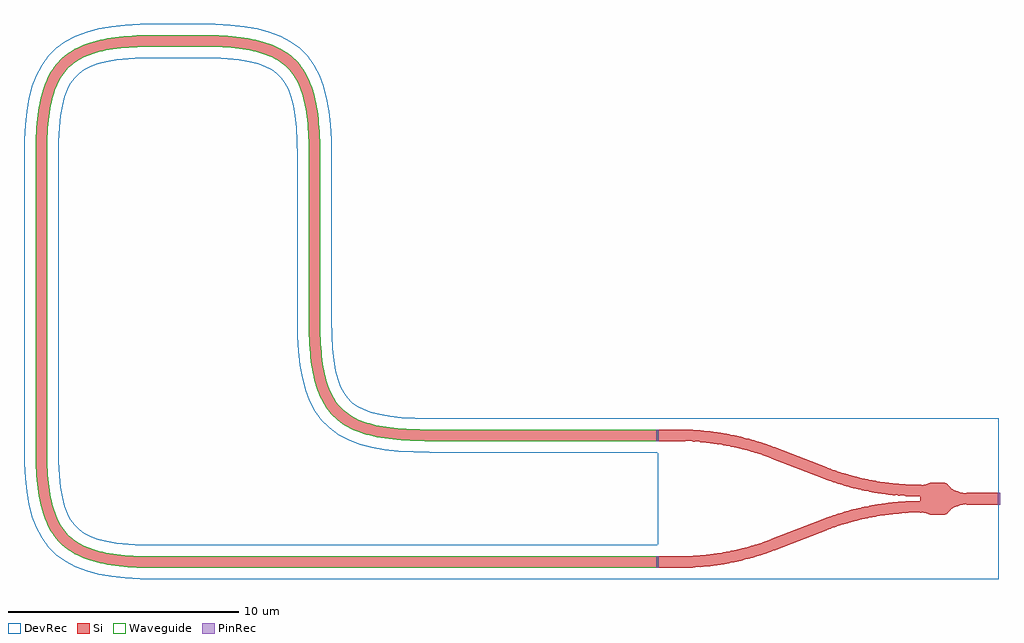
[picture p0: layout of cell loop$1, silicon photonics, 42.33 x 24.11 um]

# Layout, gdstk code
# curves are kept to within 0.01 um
from math import pi, radians
import gdstk
lib = gdstk.Library(unit=1e-6, precision=1e-09)
def R(c, l, rs):  # rectangles x0, y0, x1, y1
    for r in rs: c.add(gdstk.rectangle(r[:2], r[2:], *l))
def P(c, l, *ps):  # polygons
    for p in ps: c.add(gdstk.Polygon(p, *l))
Si = (1, 0)
PinRec = (1, 10)
Waveguide = (1, 99)
DevRec = (68, 0)

ebeam_y_1550 = lib.new_cell('ebeam_y_1550')
R(ebeam_y_1550, Si, [(6.5,-3,7.4,-2.5), (-7.4,-0.25,-6,0.25), (6.5,2.5,7.4,3)])
P(ebeam_y_1550, Si, [(6.458,-3),(6.237,-2.997),(6.237,-2.497),(6.5,-2.5),(6.5,-3)],
  [(2.265,-2.21),(0.055,-1.356),(0.235,-0.89),(2.445,-1.744)],
  [(5.033,-2.908),(4.288,-2.79),(3.59,-2.634),(2.922,-2.442),(2.265,-2.21),(2.445,-1.744),(3.075,-1.966),(3.731,-2.154),(4.372,-2.297),(5.033,-2.404)],
  [(-0.762,0.555),(-0.762,1.076),(0.055,1.356),(0.235,0.89),(-0.263,0.71)],
  [(-5.122,-0.662),(-5.344,-0.44),(-5.442,-0.374),(-5.808,-0.255),(-6,-0.25),(-6,0.25),(-5.817,0.253),(-5.442,0.374),(-5.344,0.44),(-5.122,0.662)],
  [(-4.957,-0.703),(-5.047,-0.692),(-5.122,-0.662),(-5.122,0.662),(-4.978,0.702),(-4.538,0.703),(-4.424,0.685),(-4.167,0.6),(-4,0.6),(-4,-0.6),(-4.167,-0.6),(-4.509,-0.701)],
  [(0.055,-1.356),(-0.762,-1.076),(-0.762,-0.555),(-0.263,-0.71),(0.235,-0.89)],
  [(6.237,2.497),(6.237,2.997),(6.5,3),(6.5,2.5)],
  [(-0.762,-1.076),(-1.532,-0.874),(-2.334,-0.724),(-3.178,-0.63),(-4,-0.6),(-4,-0.1),(-3.16,-0.13),(-2.381,-0.212),(-1.565,-0.355),(-0.762,-0.555)],
  [(5.033,2.404),(5.033,2.908),(5.619,2.967),(6.237,2.997),(6.237,2.497),(5.625,2.466)],
  [(-4,0.1),(-4,0.6),(-3.178,0.63),(-2.334,0.724),(-1.532,0.874),(-0.762,1.076),(-0.762,0.555),(-1.565,0.355),(-2.381,0.212),(-3.16,0.13)],
  [(2.445,1.744),(2.267,2.211),(2.922,2.442),(3.59,2.634),(4.288,2.79),(5.033,2.908),(5.033,2.404),(4.372,2.297),(3.731,2.154),(3.075,1.966)],
  [(6.233,-2.997),(5.619,-2.967),(5.033,-2.908),(5.033,-2.404),(5.625,-2.466),(6.237,-2.497)],
  [(0.235,0.89),(0.055,1.356),(2.265,2.21),(2.445,1.744)])
R(ebeam_y_1550, DevRec, [(-7.4,-3.5,7.4,3.5)])
ebeam_y_1550.add(gdstk.FlexPath([(-7.35,0),(-7.45,0)], 0.5, ends="flush", simple_path=True, layer=1, datatype=10))  # PinRec
ebeam_y_1550.add(gdstk.FlexPath([(7.35,-2.75),(7.45,-2.75)], 0.5, ends="flush", simple_path=True, layer=1, datatype=10))  # PinRec
ebeam_y_1550.add(gdstk.FlexPath([(7.35,2.75),(7.45,2.75)], 0.5, ends="flush", simple_path=True, layer=1, datatype=10))  # PinRec
ebeam_y_1550.add(gdstk.Label('opt2', (7.4,2.75), layer=1, texttype=10))
ebeam_y_1550.add(gdstk.Label('opt3', (7.4,-2.75), layer=1, texttype=10))
ebeam_y_1550.add(gdstk.Label('opt1', (-7.4,0), layer=1, texttype=10))
ebeam_y_1550.add(gdstk.Label('Component=ebeam_y_1550', (-6,1.5), layer=68, texttype=0))
ebeam_y_1550.add(gdstk.Label('Lumerical_INTERCONNECT_library=Design kits/ebeam', (-6.86,-2.19), layer=68, texttype=0))
ebeam_y_1550.add(gdstk.Label('Ref: Y Zhang, Opt. Express, 21/1, 2013', (-7.5,-1), layer=10, texttype=0))

waveguide_8 = lib.new_cell('Waveguide$8')
P(waveguide_8, Si, [(-50.14,-27.33),(-50.787,-27.321),(-51.382,-27.29),(-51.753,-27.257),(-52.27,-27.185),(-52.589,-27.123),(-53.033,-27.003),(-53.307,-26.905),(-53.683,-26.728),(-54.02,-26.513),(-54.222,-26.347),(-54.406,-26.163),(-54.572,-25.961),(-54.72,-25.741),(-54.909,-25.378),(-55.015,-25.113),(-55.145,-24.684),(-55.271,-24.044),(-55.334,-23.512),(-55.38,-22.728),(-55.39,-22.08),(-55.389,-9.249),(-55.35,-8.228),(-55.317,-7.857),(-55.245,-7.34),(-55.146,-6.867),(-54.965,-6.303),(-54.851,-6.048),(-54.721,-5.81),(-54.492,-5.487),(-54.223,-5.204),(-53.912,-4.961),(-53.684,-4.823),(-53.438,-4.701),(-53.034,-4.548),(-52.59,-4.428),(-52.104,-4.339),(-51.572,-4.276),(-50.788,-4.23),(-47.643,-4.229),(-46.859,-4.275),(-46.16,-4.365),(-45.54,-4.504),(-45.258,-4.594),(-44.993,-4.7),(-44.747,-4.822),(-44.519,-4.96),(-44.208,-5.203),(-44.024,-5.387),(-43.858,-5.589),(-43.643,-5.926),(-43.466,-6.302),(-43.285,-6.866),(-43.186,-7.339),(-43.135,-7.679),(-43.081,-8.227),(-43.05,-8.822),(-43.039,-16.797),(-43.023,-17.409),(-42.987,-17.965),(-42.928,-18.469),(-42.875,-18.776),(-42.812,-19.059),(-42.696,-19.444),(-42.604,-19.673),(-42.443,-19.98),(-42.256,-20.247),(-42.113,-20.403),(-41.958,-20.545),(-41.691,-20.732),(-41.384,-20.893),(-41.155,-20.985),(-40.632,-21.134),(-40.18,-21.217),(-39.85,-21.258),(-39.12,-21.312),(-38.29,-21.33),(-28.41,-21.33),(-28.41,-21.83),(-38.29,-21.83),(-39.34,-21.802),(-39.904,-21.756),(-40.254,-21.711),(-40.74,-21.622),(-41.041,-21.545),(-41.323,-21.455),(-41.588,-21.349),(-41.951,-21.16),(-42.171,-21.012),(-42.467,-20.757),(-42.642,-20.563),(-42.8,-20.351),(-43.001,-20.002),(-43.115,-19.747),(-43.256,-19.33),(-43.365,-18.872),(-43.446,-18.37),(-43.513,-17.629),(-43.539,-16.801),(-43.54,-9.47),(-43.568,-8.448),(-43.653,-7.58),(-43.769,-6.99),(-43.93,-6.488),(-44.138,-6.069),(-44.325,-5.802),(-44.544,-5.573),(-44.797,-5.376),(-44.987,-5.26),(-45.197,-5.156),(-45.549,-5.023),(-45.949,-4.915),(-46.401,-4.832),(-47.084,-4.758),(-47.659,-4.729),(-50.14,-4.72),(-50.772,-4.73),(-51.347,-4.759),(-52.03,-4.833),(-52.62,-4.949),(-53.005,-5.065),(-53.234,-5.157),(-53.444,-5.261),(-53.723,-5.44),(-53.887,-5.574),(-54.106,-5.803),(-54.35,-6.167),(-54.454,-6.377),(-54.587,-6.729),(-54.725,-7.274),(-54.778,-7.581),(-54.837,-8.085),(-54.881,-8.839),(-54.89,-9.47),(-54.89,-22.08),(-54.872,-22.91),(-54.799,-23.809),(-54.752,-24.125),(-54.661,-24.56),(-54.545,-24.945),(-54.453,-25.174),(-54.292,-25.481),(-54.105,-25.748),(-53.886,-25.977),(-53.633,-26.174),(-53.34,-26.343),(-53.004,-26.486),(-52.619,-26.602),(-52.336,-26.665),(-51.868,-26.74),(-51.346,-26.792),(-50.771,-26.821),(-50.14,-26.83),(-28.41,-26.83),(-28.41,-27.33)])
P(waveguide_8, Waveguide, [(-50.14,-27.33),(-50.787,-27.321),(-51.382,-27.29),(-51.753,-27.257),(-52.27,-27.185),(-52.589,-27.123),(-53.033,-27.003),(-53.307,-26.905),(-53.683,-26.728),(-54.02,-26.513),(-54.222,-26.347),(-54.406,-26.163),(-54.572,-25.961),(-54.72,-25.741),(-54.909,-25.378),(-55.015,-25.113),(-55.145,-24.684),(-55.271,-24.044),(-55.334,-23.512),(-55.38,-22.728),(-55.39,-22.08),(-55.389,-9.249),(-55.35,-8.228),(-55.317,-7.857),(-55.245,-7.34),(-55.146,-6.867),(-54.965,-6.303),(-54.851,-6.048),(-54.721,-5.81),(-54.492,-5.487),(-54.223,-5.204),(-53.912,-4.961),(-53.684,-4.823),(-53.438,-4.701),(-53.034,-4.548),(-52.59,-4.428),(-52.104,-4.339),(-51.572,-4.276),(-50.788,-4.23),(-47.643,-4.229),(-46.859,-4.275),(-46.16,-4.365),(-45.54,-4.504),(-45.258,-4.594),(-44.993,-4.7),(-44.747,-4.822),(-44.519,-4.96),(-44.208,-5.203),(-44.024,-5.387),(-43.858,-5.589),(-43.643,-5.926),(-43.466,-6.302),(-43.285,-6.866),(-43.186,-7.339),(-43.135,-7.679),(-43.081,-8.227),(-43.05,-8.822),(-43.039,-16.797),(-43.023,-17.409),(-42.987,-17.965),(-42.928,-18.469),(-42.875,-18.776),(-42.812,-19.059),(-42.696,-19.444),(-42.604,-19.673),(-42.443,-19.98),(-42.256,-20.247),(-42.113,-20.403),(-41.958,-20.545),(-41.691,-20.732),(-41.384,-20.893),(-41.155,-20.985),(-40.632,-21.134),(-40.18,-21.217),(-39.85,-21.258),(-39.12,-21.312),(-38.29,-21.33),(-28.41,-21.33),(-28.41,-21.83),(-38.29,-21.83),(-39.34,-21.802),(-39.904,-21.756),(-40.254,-21.711),(-40.74,-21.622),(-41.041,-21.545),(-41.323,-21.455),(-41.588,-21.349),(-41.951,-21.16),(-42.171,-21.012),(-42.467,-20.757),(-42.642,-20.563),(-42.8,-20.351),(-43.001,-20.002),(-43.115,-19.747),(-43.256,-19.33),(-43.365,-18.872),(-43.446,-18.37),(-43.513,-17.629),(-43.539,-16.801),(-43.54,-9.47),(-43.568,-8.448),(-43.653,-7.58),(-43.769,-6.99),(-43.93,-6.488),(-44.138,-6.069),(-44.325,-5.802),(-44.544,-5.573),(-44.797,-5.376),(-44.987,-5.26),(-45.197,-5.156),(-45.549,-5.023),(-45.949,-4.915),(-46.401,-4.832),(-47.084,-4.758),(-47.659,-4.729),(-50.14,-4.72),(-50.772,-4.73),(-51.347,-4.759),(-52.03,-4.833),(-52.62,-4.949),(-53.005,-5.065),(-53.234,-5.157),(-53.444,-5.261),(-53.723,-5.44),(-53.887,-5.574),(-54.106,-5.803),(-54.35,-6.167),(-54.454,-6.377),(-54.587,-6.729),(-54.725,-7.274),(-54.778,-7.581),(-54.837,-8.085),(-54.881,-8.839),(-54.89,-9.47),(-54.89,-22.08),(-54.872,-22.91),(-54.799,-23.809),(-54.752,-24.125),(-54.661,-24.56),(-54.545,-24.945),(-54.453,-25.174),(-54.292,-25.481),(-54.105,-25.748),(-53.886,-25.977),(-53.633,-26.174),(-53.34,-26.343),(-53.004,-26.486),(-52.619,-26.602),(-52.336,-26.665),(-51.868,-26.74),(-51.346,-26.792),(-50.771,-26.821),(-50.14,-26.83),(-28.41,-26.83),(-28.41,-27.33)])
P(waveguide_8, DevRec, [(-50.14,-27.83),(-50.841,-27.82),(-51.49,-27.784),(-52.092,-27.719),(-52.649,-27.621),(-53.167,-27.485),(-53.649,-27.303),(-54.09,-27.069),(-54.489,-26.778),(-54.837,-26.43),(-55.128,-26.031),(-55.362,-25.59),(-55.544,-25.108),(-55.68,-24.59),(-55.778,-24.033),(-55.843,-23.431),(-55.879,-22.782),(-55.89,-22.081),(-55.89,-9.469),(-55.88,-8.769),(-55.844,-8.12),(-55.779,-7.518),(-55.681,-6.961),(-55.545,-6.443),(-55.363,-5.961),(-55.129,-5.52),(-54.838,-5.121),(-54.49,-4.773),(-54.091,-4.482),(-53.65,-4.248),(-53.168,-4.066),(-52.65,-3.93),(-52.093,-3.832),(-51.491,-3.767),(-50.842,-3.731),(-50.143,-3.72),(-48.287,-3.72),(-47.589,-3.73),(-46.94,-3.766),(-46.338,-3.831),(-45.781,-3.929),(-45.263,-4.065),(-44.781,-4.247),(-44.34,-4.481),(-43.941,-4.772),(-43.593,-5.12),(-43.302,-5.519),(-43.068,-5.96),(-42.886,-6.442),(-42.75,-6.96),(-42.652,-7.517),(-42.587,-8.119),(-42.551,-8.768),(-42.54,-9.469),(-42.54,-16.579),(-42.53,-17.229),(-42.498,-17.81),(-42.443,-18.324),(-42.365,-18.773),(-42.265,-19.155),(-42.145,-19.475),(-42.005,-19.738),(-41.848,-19.955),(-41.666,-20.137),(-41.449,-20.294),(-41.186,-20.434),(-40.866,-20.554),(-40.484,-20.654),(-40.035,-20.732),(-39.521,-20.787),(-38.94,-20.819),(-38.289,-20.83),(-28.41,-20.83),(-28.41,-22.33),(-38.291,-22.33),(-38.992,-22.319),(-39.641,-22.283),(-40.243,-22.218),(-40.8,-22.12),(-41.318,-21.984),(-41.8,-21.802),(-42.241,-21.568),(-42.64,-21.277),(-42.988,-20.929),(-43.279,-20.53),(-43.513,-20.089),(-43.695,-19.607),(-43.831,-19.089),(-43.929,-18.532),(-43.994,-17.93),(-44.03,-17.281),(-44.04,-16.581),(-44.04,-9.471),(-44.051,-8.82),(-44.083,-8.239),(-44.138,-7.725),(-44.216,-7.276),(-44.316,-6.894),(-44.436,-6.574),(-44.576,-6.311),(-44.733,-6.094),(-44.915,-5.912),(-45.132,-5.755),(-45.395,-5.615),(-45.715,-5.495),(-46.097,-5.395),(-46.546,-5.317),(-47.06,-5.262),(-47.641,-5.23),(-50.137,-5.22),(-50.79,-5.231),(-51.371,-5.263),(-51.885,-5.318),(-52.334,-5.396),(-52.716,-5.496),(-53.036,-5.616),(-53.299,-5.756),(-53.516,-5.913),(-53.698,-6.095),(-53.855,-6.312),(-53.995,-6.575),(-54.115,-6.895),(-54.215,-7.277),(-54.293,-7.726),(-54.348,-8.24),(-54.38,-8.821),(-54.39,-9.471),(-54.39,-22.079),(-54.379,-22.73),(-54.347,-23.311),(-54.292,-23.825),(-54.214,-24.274),(-54.114,-24.656),(-53.994,-24.976),(-53.854,-25.239),(-53.697,-25.456),(-53.515,-25.638),(-53.298,-25.795),(-53.035,-25.935),(-52.715,-26.055),(-52.333,-26.155),(-51.884,-26.233),(-51.37,-26.288),(-50.789,-26.32),(-28.41,-26.33),(-28.41,-27.83)])
waveguide_8.add(gdstk.FlexPath([(-28.42,-27.08),(-28.4,-27.08)], 0.5, ends="flush", simple_path=True, layer=1, datatype=10))  # PinRec
waveguide_8.add(gdstk.FlexPath([(-28.42,-21.58),(-28.4,-21.58)], 0.5, ends="flush", simple_path=True, layer=1, datatype=10))  # PinRec
waveguide_8.add(gdstk.Label('opt1', (-28.41,-27.08), layer=1, texttype=10))
waveguide_8.add(gdstk.Label('opt2', (-28.41,-21.58), layer=1, texttype=10))
waveguide_8.add(gdstk.Label('Lumerical_INTERCONNECT_library=Design kits/EBeam', (-28.41,-27.18), layer=68, texttype=0))
waveguide_8.add(gdstk.Label('cellName=Waveguide', (-28.41,-26.88), layer=68, texttype=0))
waveguide_8.add(gdstk.Label('Component=ebeam_wg_integral_1550', (-28.41,-26.98), layer=68, texttype=0))
waveguide_8.add(gdstk.Label('Spice_param:wg_length=0.000086973 wg_width=5e-07 points="[[-28.41,-27.08],[-55.14,-27.08],[-55.14,-4.47],[-43.29,-4.47],[-43.29,-21.58],[-28.41,-21.58]]" radius=5e-06', (-28.41,-27.08), layer=68, texttype=0))
waveguide_8.add(gdstk.Label('Length=86.973 (microns)', (-28.41,-27.68), layer=68, texttype=0))
waveguide_8.add(gdstk.Label('waveguide_type=Strip TE 1550 nm, w=500 nm', (-28.41,-27.28), layer=68, texttype=0))

loop_1 = lib.new_cell('loop$1')
loop_1.add(gdstk.Reference(ebeam_y_1550, (34.88,3.5), rotation=pi))
loop_1.add(gdstk.Reference(waveguide_8, (55.89,27.83)))

lib.write_gds('loop_1.gds')
